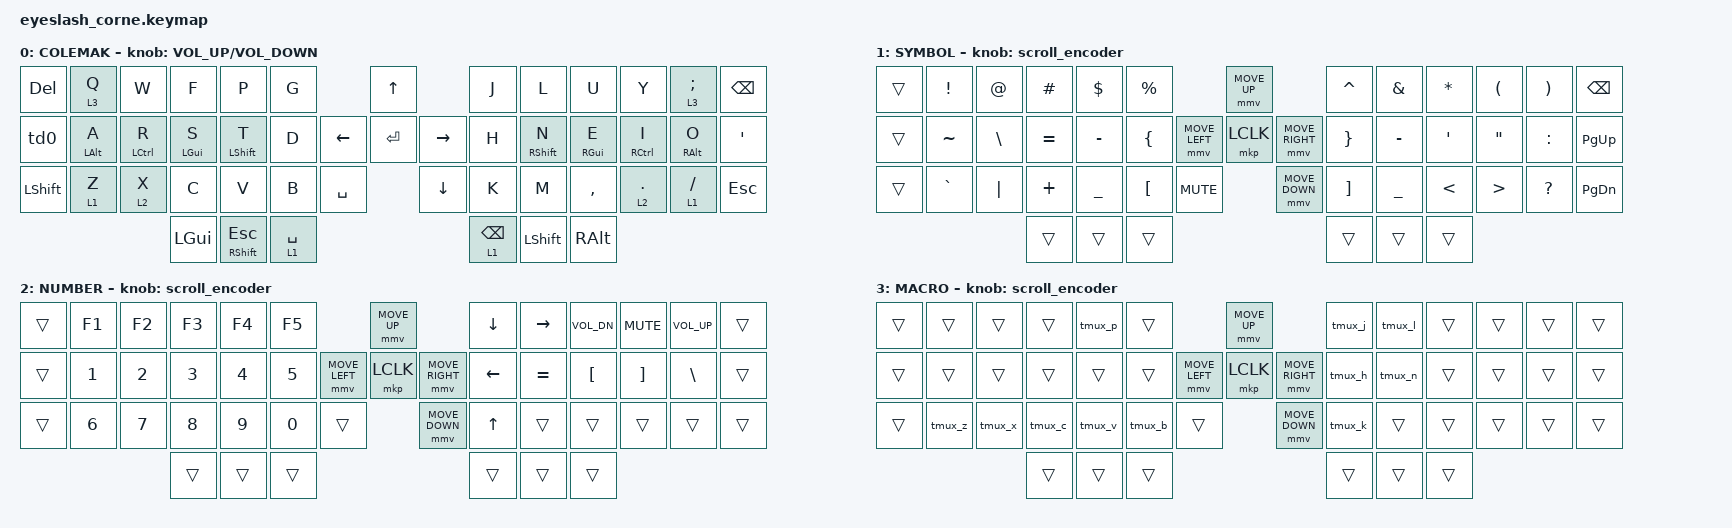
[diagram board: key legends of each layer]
#define ZMK_POINTING_DEFAULT_MOVE_VAL 1200  // 600
#define ZMK_POINTING_DEFAULT_SCRL_VAL 25   // 10

#include <input/processors.dtsi>
#include <zephyr/dt-bindings/input/input-event-codes.h>
#include <behaviors.dtsi>
#include <dt-bindings/zmk/bt.h>
#include <dt-bindings/zmk/ext_power.h>
#include <dt-bindings/zmk/keys.h>
#include <dt-bindings/zmk/pointing.h>
#include <dt-bindings/zmk/outputs.h>
#include <dt-bindings/zmk/rgb.h>

#define COMBO_TERM 50
#define TAP_TERM 180
#define REQUIRE_PRIOR_IDLE 50


#define ALT_A &mt LALT A
#define CTRL_R &mt LCTRL R
#define GUI_S &mt LGUI S
#define SHFT_T &mt LSHFT T

#define ALT_O &mt RALT O
#define CTRL_I &mt RCTRL I
#define GUI_E &mt RGUI E
#define SHFT_N &mt RSHFT N

#define SHFT_ESC &mt RSHFT ESC

#define LT1_Z &lt 1 Z
#define LT2_X &lt 2 X
#define LT2_DOT &lt 2 DOT 
#define LT1_FSLH &lt 1 FSLH
#define LT3_Q &lt 3 Q
#define LT3_SEMI &lt 3 SEMI

#define VOLUP &kp C_VOL_UP
#define VOLDN &kp C_VOL_DN
#define VOLMUTE &kp C_MUTE

&mmv_input_listener { input-processors = <&zip_xy_scaler 2 1>; };

&msc_input_listener { input-processors = <&zip_scroll_scaler 2 1>; };

&msc {
    acceleration-exponent = <1>;      // 0
    time-to-max-speed-ms = <100>;       // 300
    delay-ms = <0>;                   // 0
};

&mmv {
    time-to-max-speed-ms = <500>;
    acceleration-exponent = <1>;
    trigger-period-ms = <16>;
};


/ {
    behaviors {
        td0: td0 {
            compatible = "zmk,behavior-tap-dance";
            display-name = "Shift/Caps Lock Tap Dance";
            #binding-cells = <0>;
            bindings = <&kp LEFT_SHIFT>, <&kp CAPS>;
        };

        mt: mod_tap {
            compatible = "zmk,behavior-hold-tap";
            #binding-cells = <2>;
            flavor = "balanced";
            tapping-term-ms = <TAP_TERM>;
            require-prior-idle-ms = <REQUIRE_PRIOR_IDLE>;
            bindings = <&kp>, <&kp>;
            display-name = "Mod-Tap";
        };
    };

    rgb_encoder: rgb_encoder {
        compatible = "zmk,behavior-sensor-rotate";
        #sensor-binding-cells = <0>;
        bindings = <&rgb_ug RGB_BRI>, <&rgb_ug RGB_BRD>;
    };

    scroll_encoder: scroll_encoder {
        compatible = "zmk,behavior-sensor-rotate";
        #sensor-binding-cells = <0>;
        bindings = <&msc SCRL_DOWN>, <&msc SCRL_UP>;
        tap-ms = <100>;
    };

    macros {
        tmux_h: tmux_h {
            compatible = "zmk,behavior-macro";
            #binding-cells = <0>;
            wait-ms = <30>;
            tap-ms  = <30>;
            bindings
                = <&macro_press   &kp LCTRL>
                , <&macro_tap     &kp B>
                , <&macro_release &kp LCTRL>
                , <&macro_tap     &kp H>;
        };
        tmux_l: tmux_l {
            compatible = "zmk,behavior-macro";
            #binding-cells = <0>;
            wait-ms = <30>;
            tap-ms  = <30>;
            bindings
                = <&macro_press   &kp LCTRL>
                , <&macro_tap     &kp B>
                , <&macro_release &kp LCTRL>
                , <&macro_tap     &kp L>;
        };
        tmux_j: tmux_j {
            compatible = "zmk,behavior-macro";
            #binding-cells = <0>;
            wait-ms = <30>;
            tap-ms  = <30>;
            bindings
                = <&macro_press   &kp LCTRL>
                , <&macro_tap     &kp B>
                , <&macro_release &kp LCTRL>
                , <&macro_tap     &kp J>;
        };
        tmux_k: tmux_k {
            compatible = "zmk,behavior-macro";
            #binding-cells = <0>;
            wait-ms = <30>;
            tap-ms  = <30>;
            bindings
                = <&macro_press   &kp LCTRL>
                , <&macro_tap     &kp B>
                , <&macro_release &kp LCTRL>
                , <&macro_tap     &kp K>;
        };
        tmux_x: tmux_x {
            compatible = "zmk,behavior-macro";
            #binding-cells = <0>;
            wait-ms = <30>;
            tap-ms  = <30>;
            bindings
                = <&macro_press   &kp LCTRL>
                , <&macro_tap     &kp B>
                , <&macro_release &kp LCTRL>
                , <&macro_tap     &kp X>;
        };
        tmux_z: tmux_z {
            compatible = "zmk,behavior-macro";
            #binding-cells = <0>;
            wait-ms = <30>;
            tap-ms  = <30>;
            bindings
                = <&macro_press   &kp LCTRL>
                , <&macro_tap     &kp B>
                , <&macro_release &kp LCTRL>
                , <&macro_tap     &kp Z>;
        };
        tmux_c: tmux_c {
            compatible = "zmk,behavior-macro";
            #binding-cells = <0>;
            wait-ms = <30>;
            tap-ms  = <30>;
            bindings
                = <&macro_press   &kp LCTRL>
                , <&macro_tap     &kp B>
                , <&macro_release &kp LCTRL>
                , <&macro_tap     &kp C>;
        };
        tmux_v: tmux_v {
            compatible = "zmk,behavior-macro";
            #binding-cells = <0>;
            wait-ms = <30>;
            tap-ms  = <30>;
            bindings
                = <&macro_press   &kp LCTRL>
                , <&macro_tap     &kp B>
                , <&macro_release &kp LCTRL>
                , <&macro_tap     &kp MINUS>;
        };
        tmux_n: tmux_n {
            compatible = "zmk,behavior-macro";
            #binding-cells = <0>;
            wait-ms = <30>;
            tap-ms  = <30>;
            bindings
                = <&macro_press   &kp LCTRL>
                , <&macro_tap     &kp B>
                , <&macro_release &kp LCTRL>
                , <&macro_tap     &kp N>;
        };
        tmux_p: tmux_p {
            compatible = "zmk,behavior-macro";
            #binding-cells = <0>;
            wait-ms = <30>;
            tap-ms  = <30>;
            bindings
                = <&macro_press   &kp LCTRL>
                , <&macro_tap     &kp B>
                , <&macro_release &kp LCTRL>
                , <&macro_tap     &kp P>;
        };
        tmux_b: tmux_b {
            compatible = "zmk,behavior-macro";
            #binding-cells = <0>;
            wait-ms = <30>;
            tap-ms  = <30>;
            bindings
                = <&macro_press   &kp LCTRL>
                , <&macro_tap     &kp B>
                , <&macro_release &kp LCTRL>
                , <&macro_tap     &kp LBKT>;
        };
    };

    combos {
        compatible = "zmk,combos";
        combo_tab {
            timeout-ms = <COMBO_TERM>;
            key-positions = <31 32>;
            bindings = <&kp TAB>;
        };

        combo_enter {
            timeout-ms = <COMBO_TERM>;
            key-positions = <37 38>;
            bindings = <&kp ENTER>;
        };
    };

    keymap {
        compatible = "zmk,keymap";

        default_layer {
            display-name = "COLEMAK";
            bindings = <
&kp DEL    LT3_Q  &kp W      &kp F     &kp P    &kp G                              &kp UP                &kp J        &kp L  &kp U      &kp Y    LT3_SEMI  &kp BSPC
&td0       ALT_A  CTRL_R     GUI_S     SHFT_T   &kp D                    &kp LEFT  &kp ENTER  &kp RIGHT  &kp H        SHFT_N GUI_E      CTRL_I   ALT_O     &kp SQT
&kp LSHFT  LT1_Z  LT2_X      &kp C     &kp V    &kp B       &kp SPACE              &kp DOWN              &kp K        &kp M  &kp COMMA  LT2_DOT  LT1_FSLH  &kp ESC
                             &kp LGUI  SHFT_ESC &lt 1 SPACE                                              &lt 1 BSPC   &kp LSHFT  &kp RALT
            >;
            sensor-bindings = <&inc_dec_kp C_VOLUME_UP C_VOLUME_DOWN>;
        };

        lower_layer {
            display-name = "SYMBOL";
            bindings = <
&trans  &kp EXCL        &kp AT          &kp HASH      &kp DLLR      &kp PRCNT                                     &mmv MOVE_UP                     &kp CARET        &kp AMPS         &kp ASTRK        &kp LPAR         &kp RPAR   &kp BSPC
&trans  &kp TILDE       &kp BSLH        &kp EQUAL     &kp MINUS     &kp LBRC                      &mmv MOVE_LEFT  &mkp LCLK       &mmv MOVE_RIGHT  &kp RBRC         &kp MINUS        &kp SQT          &kp DQT          &kp COLON  &kp PG_UP
&trans  &kp GRAVE       &kp PIPE        &kp PLUS      &kp UNDER     &kp LBKT        &kp C_MUTE                    &mmv MOVE_DOWN                   &kp RBKT         &kp UNDER        &kp LT           &kp GT           &kp QMARK  &kp PG_DN
                                         &trans        &trans        &trans                                                                        &trans           &trans           &trans
            >;
            sensor-bindings = <&scroll_encoder>;
        };

        raise_layer {
            display-name = "NUMBER";
            bindings = <
&trans  &kp F1        &kp F2        &kp F3     &kp F4     &kp F5                              &mmv MOVE_UP                     &kp DOWN   &kp RIGHT  VOLDN      VOLMUTE   VOLUP     &trans
&trans  &kp N1        &kp N2        &kp N3     &kp N4     &kp N5              &mmv MOVE_LEFT  &mkp LCLK       &mmv MOVE_RIGHT  &kp LEFT   &kp EQUAL  &kp LBKT   &kp RBKT  &kp BSLH  &trans
&trans  &kp N6        &kp N7        &kp N8     &kp N9     &kp N0    &trans                    &mmv MOVE_DOWN                   &kp UP     &trans     &trans     &trans    &trans    &trans
                                    &trans     &trans     &trans                                                               &trans     &trans     &trans
            >;
            sensor-bindings = <&scroll_encoder>;
        };

        layer_3 {
            display-name = "MACRO";
            bindings = <
&trans  &trans      &trans      &trans      &tmux_p     &trans                                  &mmv MOVE_UP                     &tmux_j      &tmux_l    &trans       &trans      &trans           &trans
&trans  &trans      &trans      &trans      &trans      &trans                  &mmv MOVE_LEFT  &mkp LCLK       &mmv MOVE_RIGHT  &tmux_h      &tmux_n    &trans       &trans      &trans           &trans
&trans  &tmux_z     &tmux_x     &tmux_c     &tmux_v     &tmux_b     &trans                      &mmv MOVE_DOWN                   &tmux_k      &trans     &trans       &trans      &trans           &trans
                                &trans      &trans      &trans                                                                   &trans       &trans     &trans
            >;
            sensor-bindings = <&scroll_encoder>;
        };
    };
};
